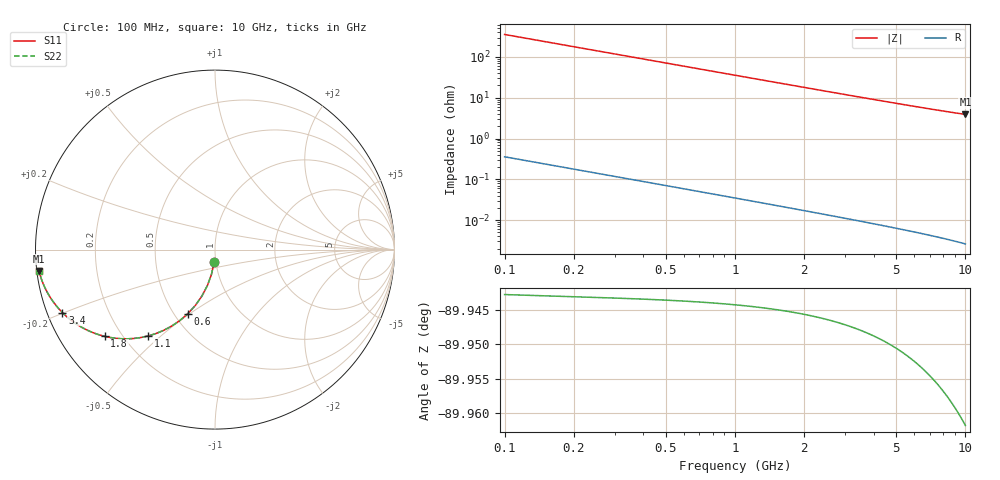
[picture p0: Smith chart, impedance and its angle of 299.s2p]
# Hz S RI R 50.00
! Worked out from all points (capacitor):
!   100 points, 100 MHz to 10 GHz, reference 50 ohm
!   read as one part in shunt: C = 4.46 pF near 100 MHz
!   lowest |Z| = 3.9 ohm at 10 GHz (marker M1)
!   S11 on the Smith chart (normalised r, x): 100 MHz: 0.98, -0.14; 600 MHz: 0.59, -0.49; 1.1 GHz: 0.30, -0.45; 1.8 GHz: 0.14, -0.34; 3.4 GHz: 0.04, -0.20; 10 GHz: 0.01, -0.06
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1e8  -0.00492 -0.0696  0.995 -0.0699  0.995 -0.0699  -0.00492 -0.0696
2e8  -0.0194 -0.1372  0.9805 -0.1378  0.9805 -0.1378  -0.0194 -0.1372
3e8  -0.0425 -0.2009  0.9574 -0.2019  0.9574 -0.2019  -0.0425 -0.2009
4e8  -0.0731 -0.2593  0.9268 -0.2605  0.9268 -0.2605  -0.0731 -0.2593
5e8  -0.1097 -0.3112  0.8902 -0.3128  0.8902 -0.3128  -0.1097 -0.3112
6e8  -0.1506 -0.3562  0.8493 -0.3581  0.8493 -0.3581  -0.1506 -0.3562
7e8  -0.1943 -0.3941  0.8056 -0.3963  0.8056 -0.3963  -0.1943 -0.3941
8e8  -0.2395 -0.425  0.7604 -0.4276  0.7604 -0.4276  -0.2395 -0.425
9e8  -0.2849 -0.4495  0.715 -0.4523  0.715 -0.4523  -0.2849 -0.4495
1.1e9  -0.373 -0.4814  0.6269 -0.4849  0.6269 -0.4849  -0.373 -0.4814
1.4e9  -0.4906 -0.4972  0.5093 -0.5016  0.5093 -0.5016  -0.4906 -0.4972
1.6e9  -0.557 -0.4937  0.4429 -0.4988  0.4429 -0.4988  -0.557 -0.4937
1.8e9  -0.614 -0.4834  0.3859 -0.4892  0.3859 -0.4892  -0.614 -0.4834
2.1e9  -0.684 -0.461  0.3159 -0.4678  0.3159 -0.4678  -0.684 -0.461
2.5e9  -0.7541 -0.426  0.2458 -0.4341  0.2458 -0.4341  -0.7541 -0.426
2.9e9  -0.8049 -0.391  0.1949 -0.4004  0.1949 -0.4004  -0.8049 -0.391
3.4e9  -0.8501 -0.3508  0.1497 -0.3618  0.1497 -0.3618  -0.8501 -0.3508
4.2e9  -0.8965 -0.2971  0.1033 -0.3108  0.1033 -0.3108  -0.8965 -0.2971
5.1e9  -0.9276 -0.2501  0.0722 -0.2669  0.0722 -0.2669  -0.9276 -0.2501
6.7e9  -0.957 -0.1908  0.0427 -0.2132  0.0427 -0.2132  -0.957 -0.1908
8.4e9  -0.9724 -0.1482  0.0271 -0.1767  0.0271 -0.1767  -0.9724 -0.1482
1e10  -0.9806 -0.119  0.0187 -0.1535  0.0187 -0.1535  -0.9806 -0.119
